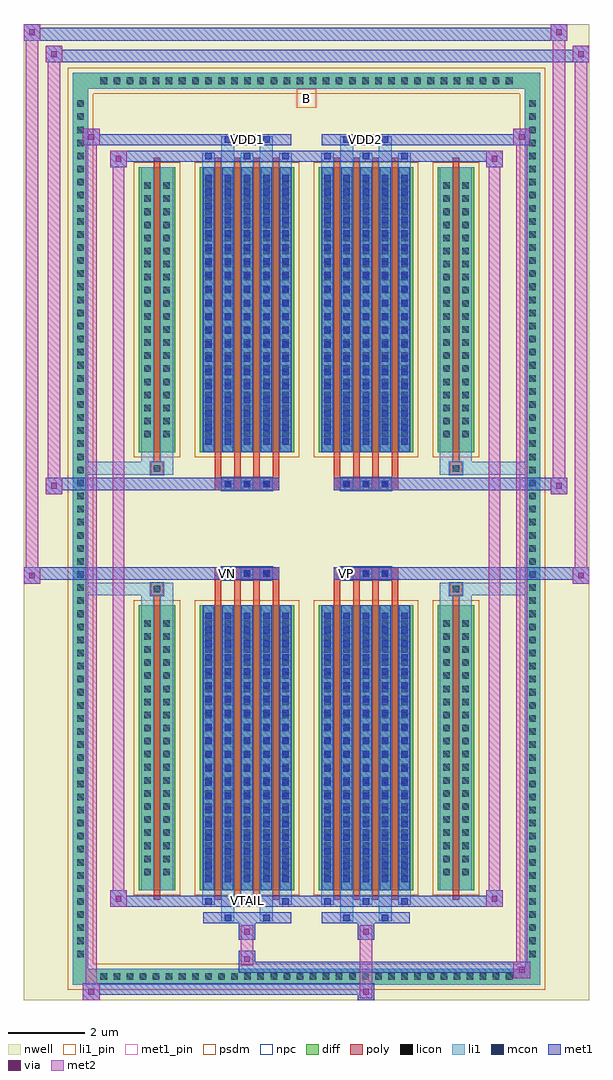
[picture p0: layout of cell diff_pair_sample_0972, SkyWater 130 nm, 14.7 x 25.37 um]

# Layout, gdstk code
import gdstk
lib = gdstk.Library(unit=1e-6, precision=5e-09)
def R(c, l, rs):  # rectangles x0, y0, x1, y1
    for r in rs: c.add(gdstk.rectangle(r[:2], r[2:], *l))
def A(c, l, x, y, w, h, nx, ny, dx, dy):  # array of equal rectangles
    R(c, l, [(x+i*dx, y+j*dy, x+i*dx+w, y+j*dy+h) for i in range(nx) for j in range(ny)])
def P(c, l, *ps):  # polygons
    for p in ps: c.add(gdstk.Polygon(p, *l))
nwell = (64, 20)
diff = (65, 20)
poly = (66, 20)
licon = (66, 44)
li1_pin = (67, 16)
li1 = (67, 20)
mcon = (67, 44)
met1_pin = (68, 16)
met1 = (68, 20)
via = (68, 44)
met2 = (69, 20)
psdm = (94, 20)
npc = (95, 20)

diff_pair_sample_0972 = lib.new_cell('diff_pair_sample_0972')
R(diff_pair_sample_0972, nwell, [(-7.35,-12.25,7.35,13.12), (-4.67,-10.44,-0.01,-0.8), (0.01,-10.44,4.67,-0.8), (-4.67,0.8,-0.01,10.44), (0.01,0.8,4.67,10.44)])
A(diff_pair_sample_0972, diff, -5.475, -11.85, 0.41, 0.41, 32, 2, 0.34, 23.29)
A(diff_pair_sample_0972, diff, -6.08, -11.255, 0.41, 0.41, 1, 66, 0, 0.34)
A(diff_pair_sample_0972, diff, 5.67, -11.255, 0.41, 0.41, 1, 66, 0, 0.34)
R(diff_pair_sample_0972, diff, [(-5.475,-11.85,5.475,-11.44), (-6.08,-11.255,-5.67,11.255), (5.67,-11.255,6.08,11.255), (-4.36,-9.395,-3.41,-1.985), (-2.77,-9.395,-0.32,-1.985), (0.32,-9.395,2.77,-1.985), (3.41,-9.395,4.36,-1.985), (-4.36,1.985,-3.41,9.395), (-2.77,1.985,-0.32,9.395), (0.32,1.985,2.77,9.395), (3.41,1.985,4.36,9.395), (-5.475,11.44,5.475,11.85)])
P(diff_pair_sample_0972, diff, [(6.08,11.85),(-6.08,11.85),(-6.08,-11.44),(-5.67,-11.44),(-5.67,11.44),(5.67,11.44),(5.67,-11.44),(-5.67,-11.44),(-6.08,-11.44),(-6.08,-11.85),(6.08,-11.85)])
A(diff_pair_sample_0972, poly, -2.38, -9.645, 0.17, 7.91, 4, 2, 0.5, 11.38)
A(diff_pair_sample_0972, poly, 0.71, -9.645, 0.17, 7.91, 4, 2, 0.5, 11.38)
A(diff_pair_sample_0972, poly, -2.38, -1.735, 0.17, 0.405, 4, 2, 0.5, 3.065)
A(diff_pair_sample_0972, poly, 0.71, -1.735, 0.17, 0.405, 4, 2, 0.5, 3.065)
A(diff_pair_sample_0972, poly, -2.21, -1.33, 0.33, 0.33, 3, 2, 0.5, 2.33)
A(diff_pair_sample_0972, poly, 0.88, -1.33, 0.33, 0.33, 3, 2, 0.5, 2.33)
R(diff_pair_sample_0972, poly, [(-3.97,-9.645,-3.8,-1.735), (3.8,-9.645,3.97,-1.735), (-4.05,-1.735,-3.72,-1.405), (-4.05,-1.735,-3.72,-1.405), (3.72,-1.735,4.05,-1.405), (3.72,-1.735,4.05,-1.405), (-2.38,-1.33,-0.71,-1), (0.71,-1.33,2.38,-1), (-2.38,1,-0.71,1.33), (0.71,1,2.38,1.33), (-4.05,1.405,-3.72,1.735), (-4.05,1.405,-3.72,1.735), (3.72,1.405,4.05,1.735), (3.72,1.405,4.05,1.735), (-3.97,1.735,-3.8,9.645), (3.8,1.735,3.97,9.645)])
A(diff_pair_sample_0972, licon, -5.355, -11.73, 0.17, 0.17, 32, 2, 0.34, 23.29)
A(diff_pair_sample_0972, licon, -5.96, -11.135, 0.17, 0.17, 1, 66, 0, 0.34)
A(diff_pair_sample_0972, licon, 5.79, -11.135, 0.17, 0.17, 1, 66, 0, 0.34)
A(diff_pair_sample_0972, licon, -4.22, -9.005, 0.17, 0.17, 1, 20, 0, 0.34)
A(diff_pair_sample_0972, licon, -3.72, -9.005, 0.17, 0.17, 1, 20, 0, 0.34)
A(diff_pair_sample_0972, licon, -2.63, -9.005, 0.17, 0.17, 5, 20, 0.5, 0.34)
A(diff_pair_sample_0972, licon, 0.46, -9.005, 0.17, 0.17, 5, 20, 0.5, 0.34)
A(diff_pair_sample_0972, licon, 3.55, -9.005, 0.17, 0.17, 1, 20, 0, 0.34)
A(diff_pair_sample_0972, licon, 4.05, -9.005, 0.17, 0.17, 1, 20, 0, 0.34)
A(diff_pair_sample_0972, licon, -2.13, -1.25, 0.17, 0.17, 3, 2, 0.5, 2.33)
A(diff_pair_sample_0972, licon, 0.96, -1.25, 0.17, 0.17, 3, 2, 0.5, 2.33)
A(diff_pair_sample_0972, licon, -4.22, 2.375, 0.17, 0.17, 1, 20, 0, 0.34)
A(diff_pair_sample_0972, licon, -3.72, 2.375, 0.17, 0.17, 1, 20, 0, 0.34)
A(diff_pair_sample_0972, licon, -2.63, 2.375, 0.17, 0.17, 5, 20, 0.5, 0.34)
A(diff_pair_sample_0972, licon, 0.46, 2.375, 0.17, 0.17, 5, 20, 0.5, 0.34)
A(diff_pair_sample_0972, licon, 3.55, 2.375, 0.17, 0.17, 1, 20, 0, 0.34)
A(diff_pair_sample_0972, licon, 4.05, 2.375, 0.17, 0.17, 1, 20, 0, 0.34)
R(diff_pair_sample_0972, licon, [(-3.97,-1.655,-3.8,-1.485), (3.8,-1.655,3.97,-1.485), (-3.97,1.485,-3.8,1.655), (3.8,1.485,3.97,1.655)])
R(diff_pair_sample_0972, li1_pin, [(-0.25,10.94,0.25,11.44)])
A(diff_pair_sample_0972, li1, -5.435, -11.81, 0.33, 0.33, 32, 2, 0.34, 23.29)
A(diff_pair_sample_0972, li1, -6.04, -11.215, 0.33, 0.33, 1, 66, 0, 0.34)
A(diff_pair_sample_0972, li1, 5.71, -11.215, 0.33, 0.33, 1, 66, 0, 0.34)
A(diff_pair_sample_0972, li1, -2.71, -9.77, 0.33, 0.375, 3, 2, 1, 19.165)
A(diff_pair_sample_0972, li1, -2.63, -9.77, 0.17, 0.17, 3, 2, 1, 19.37)
A(diff_pair_sample_0972, li1, 0.38, -9.77, 0.33, 0.375, 3, 2, 1, 19.165)
A(diff_pair_sample_0972, li1, 0.46, -9.77, 0.17, 0.17, 3, 2, 1, 19.37)
A(diff_pair_sample_0972, li1, -2.71, -9.395, 0.33, 7.41, 5, 2, 0.5, 11.38)
A(diff_pair_sample_0972, li1, 0.38, -9.395, 0.33, 7.41, 5, 2, 0.5, 11.38)
A(diff_pair_sample_0972, li1, -2.63, -9.195, 0.17, 0.17, 5, 20, 0.5, 0.36)
A(diff_pair_sample_0972, li1, -2.63, -9.195, 0.17, 7.01, 5, 2, 0.5, 11.38)
A(diff_pair_sample_0972, li1, 0.46, -9.195, 0.17, 0.17, 5, 20, 0.5, 0.36)
A(diff_pair_sample_0972, li1, 0.46, -9.195, 0.17, 7.01, 5, 2, 0.5, 11.38)
A(diff_pair_sample_0972, li1, -4.3, -9.085, 0.33, 0.33, 1, 20, 0, 0.34)
A(diff_pair_sample_0972, li1, -3.8, -9.085, 0.33, 0.33, 1, 20, 0, 0.34)
A(diff_pair_sample_0972, li1, -2.71, -9.085, 0.33, 0.33, 5, 20, 0.5, 0.34)
A(diff_pair_sample_0972, li1, 0.38, -9.085, 0.33, 0.33, 5, 20, 0.5, 0.34)
A(diff_pair_sample_0972, li1, 3.47, -9.085, 0.33, 0.33, 1, 20, 0, 0.34)
A(diff_pair_sample_0972, li1, 3.97, -9.085, 0.33, 0.33, 1, 20, 0, 0.34)
A(diff_pair_sample_0972, li1, -2.21, -1.33, 0.33, 0.33, 3, 2, 0.5, 2.33)
A(diff_pair_sample_0972, li1, 0.88, -1.33, 0.33, 0.33, 3, 2, 0.5, 2.33)
A(diff_pair_sample_0972, li1, -2.63, 2.185, 0.17, 0.17, 5, 20, 0.5, 0.36)
A(diff_pair_sample_0972, li1, 0.46, 2.185, 0.17, 0.17, 5, 20, 0.5, 0.36)
A(diff_pair_sample_0972, li1, -4.3, 2.295, 0.33, 0.33, 1, 20, 0, 0.34)
A(diff_pair_sample_0972, li1, -3.8, 2.295, 0.33, 0.33, 1, 20, 0, 0.34)
A(diff_pair_sample_0972, li1, -2.71, 2.295, 0.33, 0.33, 5, 20, 0.5, 0.34)
A(diff_pair_sample_0972, li1, 0.38, 2.295, 0.33, 0.33, 5, 20, 0.5, 0.34)
A(diff_pair_sample_0972, li1, 3.47, 2.295, 0.33, 0.33, 1, 20, 0, 0.34)
A(diff_pair_sample_0972, li1, 3.97, 2.295, 0.33, 0.33, 1, 20, 0, 0.34)
R(diff_pair_sample_0972, li1, [(-6.08,-11.85,-5.67,-11.44), (-6.08,-11.85,-5.67,-11.44), (-5.67,-11.85,5.67,-11.44), (5.67,-11.85,6.08,-11.44), (5.67,-11.85,6.08,-11.44), (-6.08,-11.44,-5.67,11.44), (5.67,-11.44,6.08,11.44), (-2.21,-10.2,-1.88,-9.395), (-2.13,-10.2,-1.96,-10.03), (-1.21,-10.2,-0.88,-9.395), (-1.13,-10.2,-0.96,-10.03), (0.88,-10.2,1.21,-9.395), (0.96,-10.2,1.13,-10.03), (1.88,-10.2,2.21,-9.395), (1.96,-10.2,2.13,-10.03), (-4.3,-9.395,-3.97,-1.985), (-3.8,-9.395,-3.47,-1.985), (3.47,-9.395,3.8,-1.985), (3.97,-9.395,4.3,-1.985), (-4.3,-1.985,-3.97,-1.405), (-3.8,-1.985,-3.47,-1.405), (3.47,-1.985,3.8,-1.405), (3.97,-1.985,4.3,-1.405), (-6.08,-1.735,-4.05,-1.405), (-4.3,-1.735,-4.05,-1.405), (-4.05,-1.735,-3.72,-1.405), (-3.72,-1.735,-3.47,-1.405), (3.47,-1.735,3.72,-1.405), (3.72,-1.735,4.05,-1.405), (3.72,-1.735,6.08,-1.405), (4.05,-1.735,4.3,-1.405), (-6.08,1.405,-4.05,1.735), (-4.3,1.405,-4.05,1.735), (-4.3,1.405,-3.97,1.985), (-4.05,1.405,-3.72,1.735), (-3.8,1.405,-3.47,1.985), (-3.72,1.405,-3.47,1.735), (3.47,1.405,3.72,1.735), (3.47,1.405,3.8,1.985), (3.72,1.405,4.05,1.735), (3.72,1.405,6.08,1.735), (3.97,1.405,4.3,1.985), (4.05,1.405,4.3,1.735), (-4.3,1.985,-3.97,9.395), (-3.8,1.985,-3.47,9.395), (3.47,1.985,3.8,9.395), (3.97,1.985,4.3,9.395), (-2.21,9.395,-1.88,10.2), (-1.21,9.395,-0.88,10.2), (0.88,9.395,1.21,10.2), (1.88,9.395,2.21,10.2), (-2.13,10.03,-1.96,10.2), (-1.13,10.03,-0.96,10.2), (0.96,10.03,1.13,10.2), (1.96,10.03,2.13,10.2), (-6.08,11.44,-5.67,11.85), (-6.08,11.44,-5.67,11.85), (-5.67,11.44,5.67,11.85), (5.67,11.44,6.08,11.85), (5.67,11.44,6.08,11.85)])
A(diff_pair_sample_0972, mcon, -2.63, -9.77, 0.17, 0.17, 3, 2, 1, 19.37)
A(diff_pair_sample_0972, mcon, 0.46, -9.77, 0.17, 0.17, 3, 2, 1, 19.37)
A(diff_pair_sample_0972, mcon, -2.63, -9.195, 0.17, 0.17, 5, 20, 0.5, 0.36)
A(diff_pair_sample_0972, mcon, 0.46, -9.195, 0.17, 0.17, 5, 20, 0.5, 0.36)
A(diff_pair_sample_0972, mcon, -2.13, -1.25, 0.17, 0.17, 3, 2, 0.5, 2.33)
A(diff_pair_sample_0972, mcon, 0.96, -1.25, 0.17, 0.17, 3, 2, 0.5, 2.33)
A(diff_pair_sample_0972, mcon, -2.63, 2.185, 0.17, 0.17, 5, 20, 0.5, 0.36)
A(diff_pair_sample_0972, mcon, 0.46, 2.185, 0.17, 0.17, 5, 20, 0.5, 0.36)
R(diff_pair_sample_0972, mcon, [(-2.13,-10.2,-1.96,-10.03), (-1.13,-10.2,-0.96,-10.03), (0.96,-10.2,1.13,-10.03), (1.96,-10.2,2.13,-10.03), (-2.13,10.03,-1.96,10.2), (-1.13,10.03,-0.96,10.2), (0.96,10.03,1.13,10.2), (1.96,10.03,2.13,10.2)])
R(diff_pair_sample_0972, met1_pin, [(-1.68,-9.81,-1.41,-9.54), (-2.18,-1.29,-1.91,-1.02), (0.91,-1.29,1.18,-1.02), (-1.68,9.99,-1.41,10.26), (1.41,9.99,1.68,10.26)])
A(diff_pair_sample_0972, met1, -2.69, -9.83, 0.29, 0.29, 3, 2, 1, 19.37)
A(diff_pair_sample_0972, met1, 0.4, -9.83, 0.29, 0.29, 3, 2, 1, 19.37)
A(diff_pair_sample_0972, met1, -2.69, -9.395, 0.29, 7.41, 5, 2, 0.5, 11.38)
A(diff_pair_sample_0972, met1, 0.4, -9.395, 0.29, 7.41, 5, 2, 0.5, 11.38)
A(diff_pair_sample_0972, met1, -2.69, -9.255, 0.29, 0.29, 5, 20, 0.5, 0.36)
A(diff_pair_sample_0972, met1, 0.4, -9.255, 0.29, 0.29, 5, 20, 0.5, 0.36)
A(diff_pair_sample_0972, met1, -2.19, -1.31, 0.29, 0.29, 3, 2, 0.5, 2.33)
A(diff_pair_sample_0972, met1, 0.9, -1.31, 0.29, 0.29, 3, 2, 0.5, 2.33)
A(diff_pair_sample_0972, met1, -2.69, 2.125, 0.29, 0.29, 5, 20, 0.5, 0.36)
A(diff_pair_sample_0972, met1, 0.4, 2.125, 0.29, 0.29, 5, 20, 0.5, 0.36)
R(diff_pair_sample_0972, met1, [(-5.81,-12.25,-5.38,-11.82), (1.33,-12.25,1.76,-11.82), (-5.81,-12.11,1.76,-11.82), (5.38,-11.68,5.81,-11.25), (-1.76,-11.54,5.81,-11.25), (-1.76,-11.4,-1.33,-10.97), (-1.76,-10.69,-1.33,-10.26), (1.33,-10.69,1.76,-10.26), (-2.69,-10.26,-0.4,-9.97), (-2.19,-10.26,-1.9,-9.97), (-1.19,-10.26,-0.9,-9.97), (0.4,-10.26,2.69,-9.97), (0.9,-10.26,1.19,-9.97), (1.9,-10.26,2.19,-9.97), (-5.1,-9.83,-4.67,-9.4), (-5.1,-9.83,-2.69,-9.54), (-2.69,-9.83,-0.4,-9.54), (-0.4,-9.83,0.4,-9.54), (0.4,-9.83,2.69,-9.54), (2.69,-9.83,5.1,-9.54), (4.67,-9.83,5.1,-9.4), (-7.35,-1.43,-6.92,-1), (6.92,-1.43,7.35,-1), (-7.35,-1.33,-0.71,-1), (-2.38,-1.33,-0.71,-1), (0.71,-1.33,2.38,-1), (0.71,-1.33,7.35,-1), (-6.78,0.9,-6.35,1.33), (6.35,0.9,6.78,1.33), (-6.78,1,-2.38,1.33), (-2.38,1,-0.71,1.33), (0.71,1,2.38,1.33), (2.38,1,6.78,1.33), (-5.1,9.4,-4.67,9.83), (4.67,9.4,5.1,9.83), (-5.1,9.54,-2.69,9.83), (-2.69,9.54,-0.4,9.83), (-0.4,9.54,0.4,9.83), (0.4,9.54,2.69,9.83), (2.69,9.54,5.1,9.83), (-5.81,9.97,-5.38,10.4), (-5.81,9.97,-2.69,10.26), (-2.69,9.97,-0.4,10.26), (-2.19,9.97,-1.9,10.26), (-1.19,9.97,-0.9,10.26), (0.4,9.97,2.69,10.26), (0.9,9.97,1.19,10.26), (1.9,9.97,2.19,10.26), (2.69,9.97,5.81,10.26), (5.38,9.97,5.81,10.4), (-6.78,12.12,-6.35,12.55), (-6.78,12.12,-4.67,12.45), (-4.67,12.12,4.67,12.45), (4.67,12.12,7.35,12.45), (6.92,12.12,7.35,12.55), (-7.35,12.69,-6.92,13.12), (-7.35,12.69,-4.67,13.02), (-4.67,12.69,4.67,13.02), (4.67,12.69,6.78,13.02), (6.35,12.69,6.78,13.12)])
R(diff_pair_sample_0972, via, [(-5.67,-12.11,-5.52,-11.96), (1.47,-12.11,1.62,-11.96), (5.52,-11.54,5.67,-11.39), (-1.62,-11.26,-1.47,-11.11), (-1.62,-10.55,-1.47,-10.4), (1.47,-10.55,1.62,-10.4), (-4.96,-9.69,-4.81,-9.54), (4.81,-9.69,4.96,-9.54), (-7.21,-1.29,-7.06,-1.14), (7.06,-1.29,7.21,-1.14), (-6.64,1.04,-6.49,1.19), (6.49,1.04,6.64,1.19), (-4.96,9.54,-4.81,9.69), (4.81,9.54,4.96,9.69), (-5.67,10.11,-5.52,10.26), (5.52,10.11,5.67,10.26), (-6.64,12.26,-6.49,12.41), (7.06,12.26,7.21,12.41), (-7.21,12.83,-7.06,12.98), (6.49,12.83,6.64,12.98)])
R(diff_pair_sample_0972, met2, [(-5.81,-12.25,-5.38,-11.82), (-5.74,-12.25,-5.45,10.4), (-5.45,-12.25,-5.38,-11.82), (-5.76,-12.2,-5.43,-11.87), (1.38,-12.2,1.71,-11.87), (1.38,-11.87,1.71,-10.64), (5.38,-11.68,5.81,-11.25), (5.45,-11.68,5.74,10.4), (5.74,-11.68,5.81,-11.25), (5.43,-11.63,5.76,-11.3), (-1.71,-11.35,-1.38,-11.02), (-1.71,-11.02,-1.38,-10.64), (-1.71,-10.64,-1.38,-10.31), (1.38,-10.64,1.71,-10.31), (-5.1,-9.83,-4.67,-9.4), (-5.03,-9.83,-4.74,9.83), (-4.74,-9.83,-4.67,-9.4), (4.67,-9.83,5.1,-9.4), (4.74,-9.83,5.03,9.83), (5.03,-9.83,5.1,-9.4), (-5.05,-9.78,-4.72,-9.45), (4.72,-9.78,5.05,-9.45), (-7.35,-1.43,-6.92,-1), (-7.3,-1.43,-6.97,13.12), (-6.97,-1.43,-6.92,-1), (6.92,-1.43,7.35,-1), (6.97,-1.43,7.3,12.55), (7.3,-1.43,7.35,-1), (-7.3,-1.38,-6.97,-1.05), (6.97,-1.38,7.3,-1.05), (-6.78,0.9,-6.35,1.33), (-6.73,0.9,-6.4,12.55), (-6.4,0.9,-6.35,1.33), (6.35,0.9,6.78,1.33), (6.4,0.9,6.73,13.12), (6.73,0.9,6.78,1.33), (-6.73,0.95,-6.4,1.28), (6.4,0.95,6.73,1.28), (-5.1,9.4,-4.67,9.83), (-4.74,9.4,-4.67,9.83), (4.67,9.4,5.1,9.83), (5.03,9.4,5.1,9.83), (-5.05,9.45,-4.72,9.78), (4.72,9.45,5.05,9.78), (-5.81,9.97,-5.38,10.4), (-5.45,9.97,-5.38,10.4), (5.38,9.97,5.81,10.4), (5.74,9.97,5.81,10.4), (-5.76,10.02,-5.43,10.35), (5.43,10.02,5.76,10.35), (-6.78,12.12,-6.35,12.55), (-6.4,12.12,-6.35,12.55), (6.92,12.12,7.35,12.55), (7.3,12.12,7.35,12.55), (-6.73,12.17,-6.4,12.5), (6.97,12.17,7.3,12.5), (-7.35,12.69,-6.92,13.12), (-6.97,12.69,-6.92,13.12), (6.35,12.69,6.78,13.12), (6.73,12.69,6.78,13.12), (-7.3,12.74,-6.97,13.07), (6.4,12.74,6.73,13.07)])
R(diff_pair_sample_0972, psdm, [(-4.49,-9.525,-3.28,-1.855), (-2.9,-9.525,-0.19,-1.855), (0.19,-9.525,2.9,-1.855), (3.28,-9.525,4.49,-1.855), (-4.49,1.855,-3.28,9.525), (-2.9,1.855,-0.19,9.525), (0.19,1.855,2.9,9.525), (3.28,1.855,4.49,9.525)])
P(diff_pair_sample_0972, psdm, [(6.21,11.98),(-6.21,11.98),(-6.21,-11.31),(-5.54,-11.31),(-5.54,11.31),(5.54,11.31),(5.54,-11.31),(-5.54,-11.31),(-6.21,-11.31),(-6.21,-11.98),(6.21,-11.98)])
A(diff_pair_sample_0972, npc, -2.23, -1.35, 0.37, 0.37, 3, 2, 0.5, 2.33)
A(diff_pair_sample_0972, npc, 0.86, -1.35, 0.37, 0.37, 3, 2, 0.5, 2.33)
R(diff_pair_sample_0972, npc, [(-4.07,-1.755,-3.7,-1.385), (3.7,-1.755,4.07,-1.385), (-2.23,-1.35,-1.36,-0.98), (-2.23,-1.35,-1.36,-0.98), (-1.73,-1.35,-0.86,-0.98), (-1.73,-1.35,-0.86,-0.98), (0.86,-1.35,1.73,-0.98), (0.86,-1.35,1.73,-0.98), (1.36,-1.35,2.23,-0.98), (1.36,-1.35,2.23,-0.98), (-2.23,0.98,-1.36,1.35), (-2.23,0.98,-1.36,1.35), (-1.73,0.98,-0.86,1.35), (-1.73,0.98,-0.86,1.35), (0.86,0.98,1.73,1.35), (0.86,0.98,1.73,1.35), (1.36,0.98,2.23,1.35), (1.36,0.98,2.23,1.35), (-4.07,1.385,-3.7,1.755), (3.7,1.385,4.07,1.755)])
diff_pair_sample_0972.add(gdstk.Label('VTAIL', (-1.545,-9.675), layer=68, texttype=5))
diff_pair_sample_0972.add(gdstk.Label('VN', (-2.045,-1.155), layer=68, texttype=5))
diff_pair_sample_0972.add(gdstk.Label('VP', (1.045,-1.155), layer=68, texttype=5))
diff_pair_sample_0972.add(gdstk.Label('B', (0,11.19), layer=67, texttype=5))
diff_pair_sample_0972.add(gdstk.Label('VDD2', (1.545,10.125), layer=68, texttype=5))
diff_pair_sample_0972.add(gdstk.Label('VDD1', (-1.545,10.125), layer=68, texttype=5))

lib.write_gds('diff_pair_sample_0972.gds')
